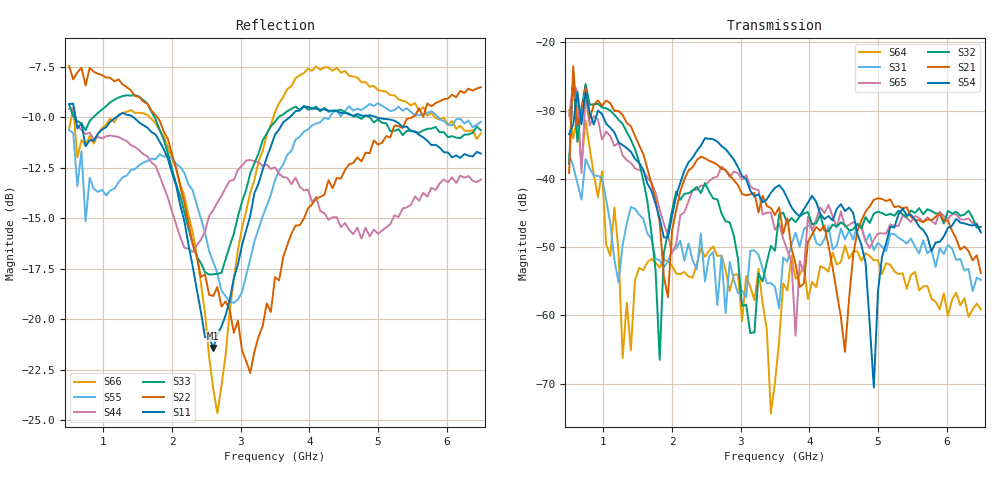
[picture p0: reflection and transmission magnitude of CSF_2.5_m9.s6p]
!Keysight Technologies,M9804A,MY58100912,A.14.10.03
!Date: Thursday, April 27, 2023 10:28:33
!Correction: S11(C  6-Port  )
!S12(C  6-Port  )
!S13(C  6-Port  )
!S14(C  6-Port  )
!S15(C  6-Port  )
!S16(C  6-Port  )
!S21(C  6-Port  )
!S22(C  6-Port  )
!S23(C  6-Port  )
!S24(C  6-Port  )
!S25(C  6-Port  )
!S26(C  6-Port  )
!S31(C  6-Port  )
!S32(C  6-Port  )
!S33(C  6-Port  )
!S34(C  6-Port  )
!S35(C  6-Port  )
!S36(C  6-Port  )
!S41(C  6-Port  )
!S42(C  6-Port  )
!S43(C  6-Port  )
!S44(C  6-Port  )
!S45(C  6-Port  )
!S46(C  6-Port  )
!S51(C  6-Port  )
!S52(C  6-Port  )
!S53(C  6-Port  )
!S54(C  6-Port  )
!S55(C  6-Port  )
!S56(C  6-Port  )
!S61(C  6-Port  )
!S62(C  6-Port  )
!S63(C  6-Port  )
!S64(C  6-Port  )
!S65(C  6-Port  )
!S66(C  6-Port  )
!S6P File: Measurement: :
# Hz S  RI  R 50
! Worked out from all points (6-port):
!   101 points, 500 MHz to 6.5 GHz, reference 50 ohm
!   strongest paths, dB at 500 MHz, 2 GHz, 3.5 GHz, 5 GHz, 6.5 GHz:
!     S54: -33.5, -45.5, -41.3, -56.5, -47.8
!     S21: -39.1, -47.6, -45.3, -42.8, -53.8
!     S32: -37.8, -44.6, -50.5, -44.8, -47.0
!     S65: -30.7, -50.9, -47.5, -48.0, -47.8
!     S31: -36.5, -50.5, -55.8, -49.4, -54.8
!     S64: -30.0, -52.7, -69.8, -51.9, -59.1
!   lowest |S11| = -21.4 dB at 2.6 GHz (marker M1), VSWR 1.19, Z = 42.5 + j2.16 ohm
!   |S11| at or under -10 dB: 592.4 MHz to 1.189 GHz (596.4 MHz wide, 67 % of centre); 1.432 GHz to 3.714 GHz (2.282 GHz wide, 88.7 % of centre); 4.972 GHz to end of sweep
